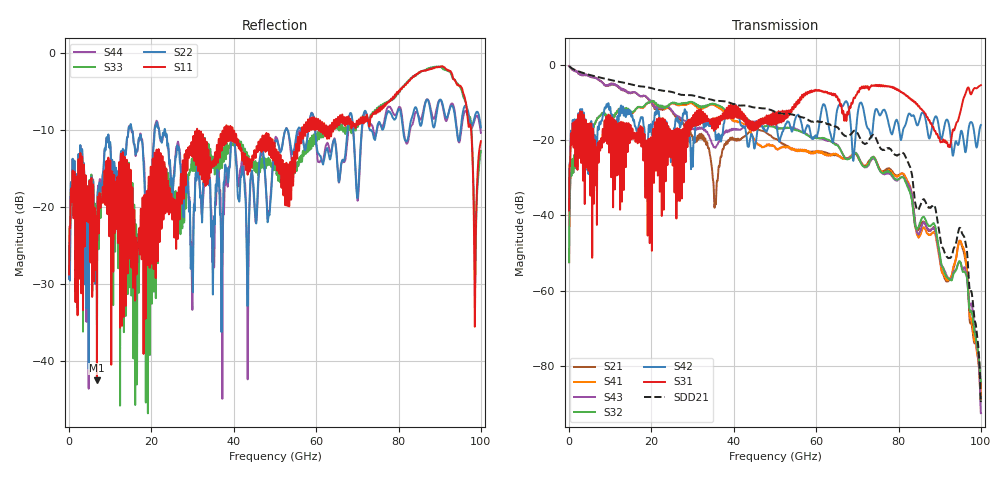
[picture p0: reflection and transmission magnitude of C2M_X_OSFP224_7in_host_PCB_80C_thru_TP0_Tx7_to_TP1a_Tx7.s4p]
# GHz S RI R 45
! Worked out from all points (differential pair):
!   4000 points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, 25 MHz to 100 GHz, reference 45 ohm
!   strongest paths, dB at 25 MHz, 25.02 GHz, 50.02 GHz, 75.03 GHz, 100 GHz:
!     S31: -38.7, -18.5, -13.4, -5.4, -5.3
!     S42: -38.6, -22.1, -13.7, -12.5, -15.9
!     S32: -52.5, -10.1, -16.7, -26.9, -84.2
!     S43: -0.3, -12.1, -16.5, -27.0, -92.7
!     S41: -52.5, -10.3, -21.9, -26.7, -85.5
!     S21: -0.3, -12.3, -19.6, -26.7, -84.7
!   taken as a pair (ports 3,1 in; 4,2 out), SDD21 dB: -0.3, -7.2, -12.5, -20.8, -89.3
!   lowest |S11| = -42.5 dB at 6.775 GHz (marker M1), VSWR 1.02, Z = 45.2 + j0.633 ohm
!   |S11| at or under -10 dB: start of sweep to 31.06 GHz; 31.13 GHz to 37.7 GHz (6.573 GHz wide, 19.1 % of centre); 39.72 GHz to 56.52 GHz (16.81 GHz wide, 34.9 % of centre) (the widest 3 of 21)
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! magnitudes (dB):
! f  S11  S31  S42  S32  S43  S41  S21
! 25 MHz  -28.8  -38.7  -38.6  -52.5  -0.3  -52.5  -0.3
! 6.775 GHz  -42.5  -42.5  -21.9  -14.3  -3.6  -14.4  -3.6
! 35.45 GHz  -13.0  -14.2  -17.2  -10.4  -22.0  -10.8  -36.6
! 45.02 GHz  -12.6  -15.4  -22.2  -15.7  -15.0  -19.9  -17.1
! 81.12 GHz  -4.4  -7.4  -17.2  -29.9  -29.8  -28.9  -29.0
! 95.5 GHz  -4.8  -10.1  -18.1  -54.7  -54.2  -48.2  -48.6
! 100 GHz  -11.5  -5.3  -15.9  -84.2  -92.7  -85.5  -84.7
